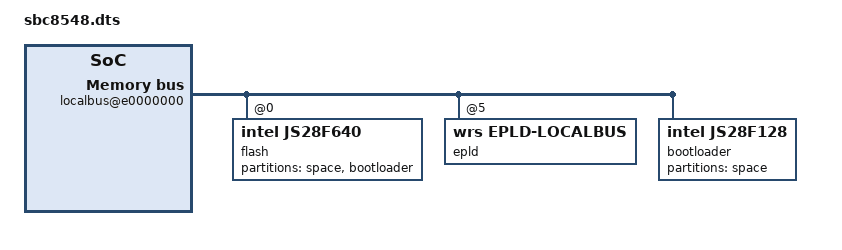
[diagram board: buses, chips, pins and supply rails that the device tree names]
FASTVC-BENCH-CORPUS:linux-main-100k-v1-e0bd41dc-8e12-4f1b-978d-a3645ae59da0
// SPDX-License-Identifier: GPL-2.0-or-later
/*
 * SBC8548 Device Tree Source
 *
 * Copyright 2007 Wind River Systems Inc.
 *
 * Paul Gortmaker (see MAINTAINERS for contact information)
 */


/dts-v1/;

/include/ "sbc8548-pre.dtsi"

/{
	localbus@e0000000 {
		#address-cells = <2>;
		#size-cells = <1>;
		compatible = "simple-bus";
		reg = <0xe0000000 0x5000>;
		interrupt-parent = <&mpic>;

		ranges = <0x0 0x0 0xff800000 0x00800000		/*8MB Flash*/
			  0x3 0x0 0xf0000000 0x04000000		/*64MB SDRAM*/
			  0x4 0x0 0xf4000000 0x04000000 	/*64MB SDRAM*/
			  0x5 0x0 0xf8000000 0x00b10000		/* EPLD */
			  0x6 0x0 0xec000000 0x04000000>;	/*64MB Flash*/


		flash@0,0 {
			#address-cells = <1>;
			#size-cells = <1>;
			compatible = "intel,JS28F640", "cfi-flash";
			reg = <0x0 0x0 0x800000>;
			bank-width = <1>;
			device-width = <1>;
			partition@0 {
				label = "space";
				/* FF800000 -> FFF9FFFF */
				reg = <0x00000000 0x007a0000>;
			};
			partition@7a0000 {
				label = "bootloader";
				/* FFFA0000 -> FFFFFFFF */
				reg = <0x007a0000 0x00060000>;
				read-only;
			};
		};

		epld@5,0 {
			compatible = "wrs,epld-localbus";
			#address-cells = <2>;
			#size-cells = <1>;
			reg = <0x5 0x0 0x00b10000>;
			ranges = <
				0x0 0x0 0x5 0x000000 0x1fff	/* LED */
				0x1 0x0 0x5 0x100000 0x1fff	/* Switches */
				0x3 0x0 0x5 0x300000 0x1fff	/* HW Rev. */
				0xb 0x0	0x5 0xb00000 0x1fff	/* EEPROM */
			>;

			led@0,0 {
				compatible = "led";
				reg = <0x0 0x0 0x1fff>;
			};

			switches@1,0 {
				compatible = "switches";
				reg = <0x1 0x0 0x1fff>;
			};

			hw-rev@3,0 {
				compatible = "hw-rev";
				reg = <0x3 0x0 0x1fff>;
			};

			eeprom@b,0 {
				compatible = "eeprom";
				reg = <0xb 0 0x1fff>;
			};

		};

		alt-flash@6,0 {
			#address-cells = <1>;
			#size-cells = <1>;
			reg = <0x6 0x0 0x04000000>;
			compatible = "intel,JS28F128", "cfi-flash";
			bank-width = <4>;
			device-width = <1>;
			partition@0 {
				label = "space";
				/* EC000000 -> EFEFFFFF */
				reg = <0x00000000 0x03f00000>;
			};
/* bench 23214.4.0 c0f69d34986d */
/* bench 23214.4.1 28314e77b421 */
/* bench 23214.4.2 1705359fcb42 */
/* bench 23214.4.3 11cd136e8b99 */
/* bench 23214.4.4 ff9cd4ab66c4 */
/* bench 23214.4.5 e3b47340f938 */
/* bench 23214.4.6 17e3105a8a89 */
/* bench 23214.4.7 a1fc59ffe986 */
				label = "bootloader";
				/* EFF00000 -> EFFFFFFF */
				reg = <0x03f00000 0x00100000>;
/* bench 3424.0.0 be9c3755ba65 */
/* bench 3424.0.1 4356b770dcf4 */
/* bench 3424.0.2 3e2bb401b296 */
/* bench 3424.0.3 592fdaa8ae48 */
/* bench 3424.0.4 aa30f191dba2 */
/* bench 3424.0.5 00e01ffff718 */
                };
        };
};

/include/ "sbc8548-post.dtsi"
